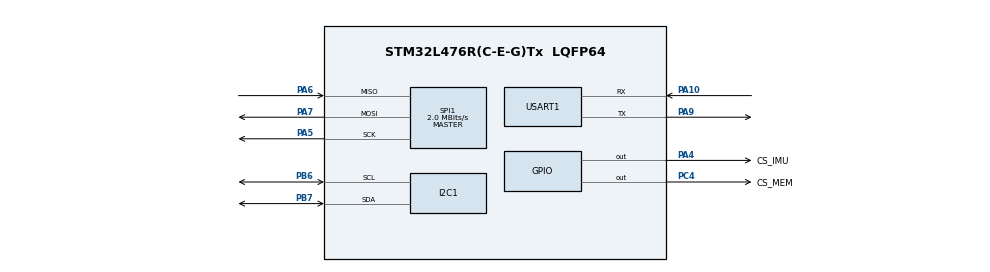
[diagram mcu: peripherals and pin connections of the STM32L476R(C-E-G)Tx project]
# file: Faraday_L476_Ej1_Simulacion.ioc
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I2C1.Timing=0x00100D14
Mcu.Family=STM32L4
Mcu.Name=STM32L476R(C-E-G)Tx
Mcu.Package=LQFP64
NVIC.PriorityGroup=NVIC_PRIORITYGROUP_4
PA10.Mode=Asynchronous
PA10.Signal=USART1_RX
PA13\ (JTMS-SWDIO).Mode=Serial_Wire
PA13\ (JTMS-SWDIO).Signal=SYS_JTMS-SWDIO
PA14\ (JTCK-SWCLK).Mode=Serial_Wire
PA14\ (JTCK-SWCLK).Signal=SYS_JTCK-SWCLK
PA4.GPIO_Label=CS_IMU
PA4.PinState=GPIO_PIN_SET
PA4.Signal=GPIO_Output
PA5.Mode=Full_Duplex_Master
PA5.Signal=SPI1_SCK
PA6.Mode=Full_Duplex_Master
PA6.Signal=SPI1_MISO
PA7.Mode=Full_Duplex_Master
PA7.Signal=SPI1_MOSI
PA9.Mode=Asynchronous
PA9.Signal=USART1_TX
PB6.Mode=I2C
PB6.Signal=I2C1_SCL
PB7.Mode=I2C
PB7.Signal=I2C1_SDA
PC4.GPIO_Label=CS_MEM
PC4.PinState=GPIO_PIN_SET
PC4.Signal=GPIO_Output
ProjectManager.HeapSize=0x200
ProjectManager.StackSize=0x400
ProjectManager.TargetToolchain=CMake
RCC.HSE_VALUE=8000000
RCC.HSI_VALUE=16000000
RCC.LSE_VALUE=32768
RCC.MSI_VALUE=4000000
RCC.VCOOutputFreq_Value=32000000
SPI1.CalculateBaudRate=2.0 MBits/s
SPI1.DataSize=SPI_DATASIZE_8BIT
SPI1.Direction=SPI_DIRECTION_2LINES
SPI1.Mode=SPI_MODE_MASTER
SPI1.VirtualType=VM_MASTER
USART1.VirtualMode-Asynchronous=VM_ASYNC
board=custom

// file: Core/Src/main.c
/* USER CODE BEGIN Header */
/**
  ******************************************************************************
  * @file           : main.c
  * @brief          : Main program body
  ******************************************************************************
  * @attention
  *
  * Copyright (c) 2026 STMicroelectronics.
  * All rights reserved.
  *
  * This software is licensed under terms that can be found in the LICENSE file
  * in the root directory of this software component.
  * If no LICENSE file comes with this software, it is provided AS-IS.
  *
  ******************************************************************************
  */
/* USER CODE END Header */
#include "main.h"

/* USER CODE BEGIN Includes */
#include <math.h>
/* USER CODE END Includes */

I2C_HandleTypeDef hi2c1;

SPI_HandleTypeDef hspi1;

UART_HandleTypeDef huart1;

void SystemClock_Config(void);
static void MX_GPIO_Init(void);
static void MX_I2C1_Init(void);
static void MX_SPI1_Init(void);
static void MX_USART1_UART_Init(void);
/* USER CODE BEGIN PFP */
static float FiltrarAltura(float altura_nueva, float altura_anterior);
static float AlturaDesdePresion(float presion_pa, float presion_inicial_pa);
/* USER CODE END PFP */

int main(void)
{
  /* MCU Configuration--------------------------------------------------------*/
  /* Reset of all peripherals, Initializes the Flash interface and the Systick. */
  HAL_Init();
  /* Configure the system clock */
  SystemClock_Config();
  /* Initialize all configured peripherals */
  MX_GPIO_Init();
  MX_I2C1_Init();
  MX_SPI1_Init();
  MX_USART1_UART_Init();
  /* Infinite loop */
  while (1)
  {
    /* USER CODE BEGIN 3 */
    static uint32_t instante_anterior = 0U;
    static uint8_t primera_medida = 1U;
    static float altura_filtrada = 0.0f;
    static volatile float resultado_prueba = 0.0f;
    static float historial_alturas[20] = {0};
    static uint8_t indice_historial = 0U;
    static uint8_t muestras_guardadas = 0U;
    static volatile float cambio_altura_02s = 0.0f;
    static float altura_maxima = 0.0f;
    static uint8_t confirmaciones_descenso = 0U;
    static uint8_t fallos_consecutivos = 0U;
    static volatile uint8_t descenso_detectado = 0U;

    uint32_t instante_actual = HAL_GetTick();

    if ((uint32_t)(instante_actual - instante_anterior) >= 10U)
    {
      instante_anterior = instante_actual;

      float tiempo_s = (float)(instante_actual % 120000U) / 1000.0f;
      const float presion_inicio_pa = 101325.0f;
      const float presion_minima_pa = 34900.0f;
      float presion_prueba_pa;

      if (tiempo_s <= 60.0f)
      {
        presion_prueba_pa = presion_inicio_pa
            + (presion_minima_pa - presion_inicio_pa) * tiempo_s / 60.0f;
      }
      else
      {
        presion_prueba_pa = presion_minima_pa
            + (presion_inicio_pa - presion_minima_pa)
              * (tiempo_s - 60.0f) / 60.0f;
      }

      float altura_nueva =
          AlturaDesdePresion(presion_prueba_pa, presion_inicio_pa);

      if (primera_medida)
      {
        altura_filtrada = altura_nueva;
        primera_medida = 0U;
      }
      else
      {
        altura_filtrada = FiltrarAltura(altura_nueva, altura_filtrada);
      }

      if (altura_filtrada > altura_maxima)
      {
        altura_maxima = altura_filtrada;
      }

      if (muestras_guardadas == 20U)
      {
        cambio_altura_02s =
            altura_filtrada - historial_alturas[indice_historial];

        if (descenso_detectado == 0U)
        {
          const float caida_minima_desde_maximo_m = 2.0f;
          const float descenso_minimo_02s_m = 1.0f;

          if ((altura_maxima - altura_filtrada >= caida_minima_desde_maximo_m) &&
              (cambio_altura_02s <= -descenso_minimo_02s_m))
          {
            fallos_consecutivos = 0U;
            confirmaciones_descenso++;

            if (confirmaciones_descenso >= 50U)
            {
              descenso_detectado = 1U;
            }
          }
          else
          {
            fallos_consecutivos++;

            if (fallos_consecutivos >= 3U)
            {
              confirmaciones_descenso = 0U;
              fallos_consecutivos = 0U;
            }
          }
        }
      }
      else
      {
        muestras_guardadas++;
      }

      historial_alturas[indice_historial] = altura_filtrada;
      indice_historial = (uint8_t)((indice_historial + 1U) % 20U);
      resultado_prueba = altura_filtrada;
    }
  }
  /* USER CODE END 3 */
}

void SystemClock_Config(void)
{
  RCC_OscInitTypeDef RCC_OscInitStruct = {0};
  RCC_ClkInitTypeDef RCC_ClkInitStruct = {0};

  /** Configure the main internal regulator output voltage
  */
  if (HAL_PWREx_ControlVoltageScaling(PWR_REGULATOR_VOLTAGE_SCALE1) != HAL_OK)
  {
    Error_Handler();
  }

  /** Initializes the RCC Oscillators according to the specified parameters
  * in the RCC_OscInitTypeDef structure.
  */
  RCC_OscInitStruct.OscillatorType = RCC_OSCILLATORTYPE_MSI;
  RCC_OscInitStruct.MSIState = RCC_MSI_ON;
  RCC_OscInitStruct.MSICalibrationValue = 0;
  RCC_OscInitStruct.MSIClockRange = RCC_MSIRANGE_6;
  RCC_OscInitStruct.PLL.PLLState = RCC_PLL_NONE;
  if (HAL_RCC_OscConfig(&RCC_OscInitStruct) != HAL_OK)
  {
    Error_Handler();
  }

  /** Initializes the CPU, AHB and APB buses clocks
  */
  RCC_ClkInitStruct.ClockType = RCC_CLOCKTYPE_HCLK|RCC_CLOCKTYPE_SYSCLK
                              |RCC_CLOCKTYPE_PCLK1|RCC_CLOCKTYPE_PCLK2;
  RCC_ClkInitStruct.SYSCLKSource = RCC_SYSCLKSOURCE_MSI;
  RCC_ClkInitStruct.AHBCLKDivider = RCC_SYSCLK_DIV1;
  RCC_ClkInitStruct.APB1CLKDivider = RCC_HCLK_DIV1;
  RCC_ClkInitStruct.APB2CLKDivider = RCC_HCLK_DIV1;

  if (HAL_RCC_ClockConfig(&RCC_ClkInitStruct, FLASH_LATENCY_0) != HAL_OK)
  {
    Error_Handler();
  }
}

static void MX_I2C1_Init(void)
{

  hi2c1.Instance = I2C1;
  hi2c1.Init.Timing = 0x00100D14;
  hi2c1.Init.OwnAddress1 = 0;
  hi2c1.Init.AddressingMode = I2C_ADDRESSINGMODE_7BIT;
  hi2c1.Init.DualAddressMode = I2C_DUALADDRESS_DISABLE;
  hi2c1.Init.OwnAddress2 = 0;
  hi2c1.Init.OwnAddress2Masks = I2C_OA2_NOMASK;
  hi2c1.Init.GeneralCallMode = I2C_GENERALCALL_DISABLE;
  hi2c1.Init.NoStretchMode = I2C_NOSTRETCH_DISABLE;
  if (HAL_I2C_Init(&hi2c1) != HAL_OK)
  {
    Error_Handler();
  }

  /** Configure Analogue filter
  */
  if (HAL_I2CEx_ConfigAnalogFilter(&hi2c1, I2C_ANALOGFILTER_ENABLE) != HAL_OK)
  {
    Error_Handler();
  }

  /** Configure Digital filter
  */
  if (HAL_I2CEx_ConfigDigitalFilter(&hi2c1, 0) != HAL_OK)
  {
    Error_Handler();
  }

}

static void MX_SPI1_Init(void)
{

  /* SPI1 parameter configuration*/
  hspi1.Instance = SPI1;
  hspi1.Init.Mode = SPI_MODE_MASTER;
  hspi1.Init.Direction = SPI_DIRECTION_2LINES;
  hspi1.Init.DataSize = SPI_DATASIZE_8BIT;
  hspi1.Init.CLKPolarity = SPI_POLARITY_LOW;
  hspi1.Init.CLKPhase = SPI_PHASE_1EDGE;
  hspi1.Init.NSS = SPI_NSS_SOFT;
  hspi1.Init.BaudRatePrescaler = SPI_BAUDRATEPRESCALER_2;
  hspi1.Init.FirstBit = SPI_FIRSTBIT_MSB;
  hspi1.Init.TIMode = SPI_TIMODE_DISABLE;
  hspi1.Init.CRCCalculation = SPI_CRCCALCULATION_DISABLE;
  hspi1.Init.CRCPolynomial = 7;
  hspi1.Init.CRCLength = SPI_CRC_LENGTH_DATASIZE;
  hspi1.Init.NSSPMode = SPI_NSS_PULSE_ENABLE;
  if (HAL_SPI_Init(&hspi1) != HAL_OK)
  {
    Error_Handler();
  }

}

static void MX_USART1_UART_Init(void)
{

  huart1.Instance = USART1;
  huart1.Init.BaudRate = 115200;
  huart1.Init.WordLength = UART_WORDLENGTH_8B;
  huart1.Init.StopBits = UART_STOPBITS_1;
  huart1.Init.Parity = UART_PARITY_NONE;
  huart1.Init.Mode = UART_MODE_TX_RX;
  huart1.Init.HwFlowCtl = UART_HWCONTROL_NONE;
  huart1.Init.OverSampling = UART_OVERSAMPLING_16;
  huart1.Init.OneBitSampling = UART_ONE_BIT_SAMPLE_DISABLE;
  huart1.AdvancedInit.AdvFeatureInit = UART_ADVFEATURE_NO_INIT;
  if (HAL_UART_Init(&huart1) != HAL_OK)
  {
    Error_Handler();
  }

}

static void MX_GPIO_Init(void)
{
  GPIO_InitTypeDef GPIO_InitStruct = {0};

  /* GPIO Ports Clock Enable */
  __HAL_RCC_GPIOA_CLK_ENABLE();
  __HAL_RCC_GPIOC_CLK_ENABLE();
  __HAL_RCC_GPIOB_CLK_ENABLE();

  /*Configure GPIO pin Output Level */
  HAL_GPIO_WritePin(CS_IMU_GPIO_Port, CS_IMU_Pin, GPIO_PIN_SET);

  /*Configure GPIO pin Output Level */
  HAL_GPIO_WritePin(CS_MEM_GPIO_Port, CS_MEM_Pin, GPIO_PIN_SET);

  /*Configure GPIO pin : CS_IMU_Pin */
  GPIO_InitStruct.Pin = CS_IMU_Pin;
  GPIO_InitStruct.Mode = GPIO_MODE_OUTPUT_PP;
  GPIO_InitStruct.Pull = GPIO_NOPULL;
  GPIO_InitStruct.Speed = GPIO_SPEED_FREQ_LOW;
  HAL_GPIO_Init(CS_IMU_GPIO_Port, &GPIO_InitStruct);

  /*Configure GPIO pin : CS_MEM_Pin */
  GPIO_InitStruct.Pin = CS_MEM_Pin;
  GPIO_InitStruct.Mode = GPIO_MODE_OUTPUT_PP;
  GPIO_InitStruct.Pull = GPIO_NOPULL;
  GPIO_InitStruct.Speed = GPIO_SPEED_FREQ_LOW;
  HAL_GPIO_Init(CS_MEM_GPIO_Port, &GPIO_InitStruct);

}

/* USER CODE BEGIN 4 */
static float FiltrarAltura(float altura_nueva, float altura_anterior)
{
  const float alpha = 0.25f;  /* Valor de prueba, todavía no validado */
  return altura_anterior + alpha * (altura_nueva - altura_anterior);
}
static float AlturaDesdePresion(float presion_pa, float presion_inicial_pa)
{
  const float R = 287.05f;     /* J/(kg·K), aire seco */
  const float T = 288.15f;     /* K, valor supuesto para esta prueba */
  const float g = 9.80665f;    /* m/s² */

  return (R * T / g) * logf(presion_inicial_pa / presion_pa);
}
/* USER CODE END 4 */

void Error_Handler(void)
{
  __disable_irq();
  while (1)
  {
  }
}
